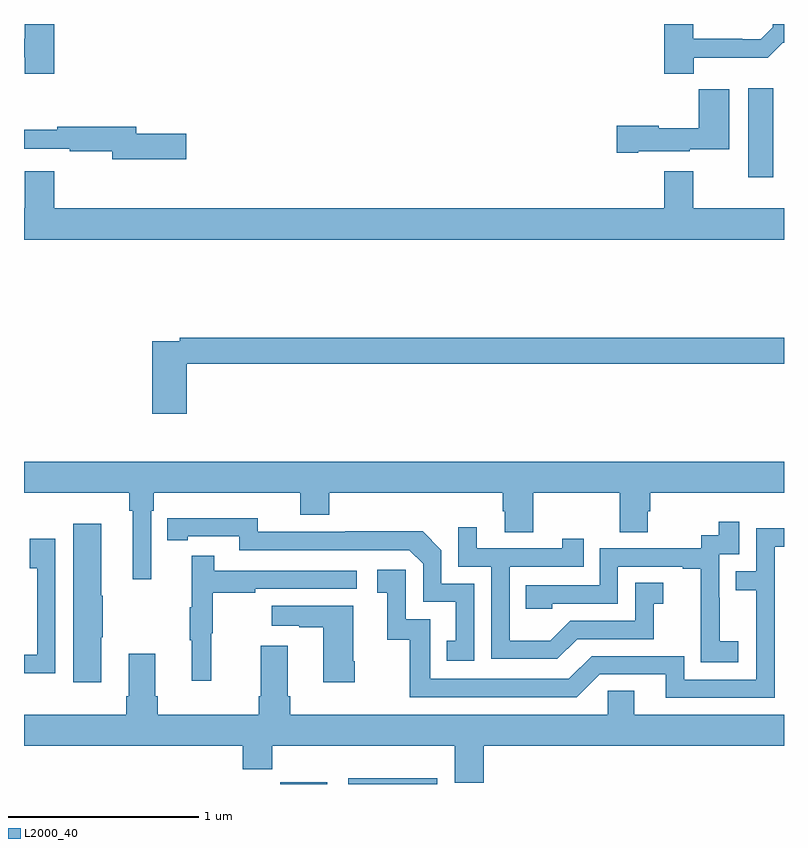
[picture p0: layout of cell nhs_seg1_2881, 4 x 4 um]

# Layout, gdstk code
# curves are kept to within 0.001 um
import gdstk
lib = gdstk.Library(unit=1e-6, precision=1e-09)
def R(c, l, rs):  # rectangles x0, y0, x1, y1
    for r in rs: c.add(gdstk.rectangle(r[:2], r[2:], *l))
def P(c, l, *ps):  # polygons
    for p in ps: c.add(gdstk.Polygon(p, *l))
L2000_40 = (2000, 40)

nhs_seg1_2881 = lib.new_cell('nhs_seg1_2881')
R(nhs_seg1_2881, L2000_40, [(268.348,550.199,268.597,550.207), (268.707,550.199,269.176,550.228), (270.812,553.392,270.943,553.861)])
P(nhs_seg1_2881, L2000_40, [(267.158,554.199),(267.005,554.199),(267.005,554.121),(267,554.121),(267,554.024),(267.003,554.024),(267.003,553.937),(267.158,553.937)],
  [(270.526,554.022),(270.915,554.022),(270.993,554.1),(271,554.1),(271,554.197),(270.942,554.197),(270.942,554.182),(270.878,554.118),(270.779,554.118),(270.779,554.121),(270.523,554.121),(270.523,554.199),(270.371,554.199),(270.371,553.937),(270.526,553.937)],
  [(270.232,553.529),(270.504,553.529),(270.504,553.541),(270.712,553.541),(270.712,553.855),(270.55,553.855),(270.55,553.651),(270.342,553.651),(270.342,553.664),(270.12,553.664),(270.12,553.522),(270.232,553.522)],
  [(267.853,553.622),(267.592,553.622),(267.592,553.658),(267.176,553.658),(267.176,553.643),(267,553.643),(267,553.542),(267.241,553.542),(267.241,553.53),(267.464,553.53),(267.464,553.487),(267.853,553.487)],
  [(271,553.228),(270.523,553.228),(270.523,553.423),(270.371,553.423),(270.371,553.228),(267.158,553.228),(267.158,553.423),(267.005,553.423),(267.005,553.228),(267,553.228),(267,553.064),(271,553.064)],
  [(267.857,552.412),(271,552.412),(271,552.548),(267.82,552.548),(267.82,552.528),(267.674,552.528),(267.674,552.147),(267.857,552.147)],
  [(267.669,551.636),(267.683,551.636),(267.683,551.732),(268.454,551.732),(268.454,551.615),(268.607,551.615),(268.607,551.732),(269.519,551.732),(269.519,551.634),(269.531,551.634),(269.531,551.524),(269.679,551.524),(269.679,551.732),(270.136,551.732),(270.136,551.524),(270.283,551.524),(270.283,551.634),(270.296,551.634),(270.296,551.732),(271,551.732),(271,551.896),(267,551.896),(267,551.732),(267.553,551.732),(267.553,551.636),(267.572,551.636),(267.572,551.277),(267.669,551.277)],
  [(269.37,551.253),(269.196,551.253),(269.196,551.43),(269.098,551.528),(268.69,551.528),(268.69,551.526),(268.23,551.526),(268.23,551.599),(267.754,551.598),(267.754,551.482),(267.862,551.482),(267.862,551.502),(268.134,551.502),(268.134,551.43),(269.028,551.43),(269.1,551.358),(269.1,551.157),(269.273,551.157),(269.273,550.953),(269.224,550.953),(269.224,550.848),(269.37,550.848)],
  [(270.76,550.951),(270.662,550.951),(270.662,551.18),(270.66,551.18),(270.66,551.409),(270.765,551.409),(270.765,551.578),(270.657,551.578),(270.657,551.508),(270.564,551.508),(270.564,551.439),(270.03,551.439),(270.03,551.244),(269.641,551.244),(269.641,551.121),(269.781,551.121),(269.781,551.148),(270.126,551.148),(270.126,551.343),(270.467,551.343),(270.467,551.331),(270.563,551.331),(270.563,551.047),(270.562,551.047),(270.562,550.841),(270.76,550.841)],
  [(267.406,550.972),(267.414,550.972),(267.414,551.189),(267.406,551.189),(267.406,551.569),(267.26,551.569),(267.26,550.734),(267.406,550.734)],
  [(269.911,550.962),(270.315,550.962),(270.315,551.147),(270.364,551.147),(270.364,551.257),(270.216,551.257),(270.216,551.058),(269.874,551.058),(269.77,550.954),(269.556,550.954),(269.556,551.343),(269.945,551.343),(269.945,551.491),(269.834,551.491),(269.834,551.439),(269.383,551.439),(269.383,551.551),(269.286,551.551),(269.286,551.343),(269.46,551.343),(269.46,550.857),(269.806,550.857)],
  [(270.951,551.448),(271,551.448),(271,551.544),(270.855,551.544),(270.855,551.319),(270.745,551.319),(270.745,551.218),(270.855,551.218),(270.855,550.749),(270.474,550.749),(270.474,550.872),(269.988,550.872),(269.868,550.752),(269.139,550.752),(269.139,551.067),(269.01,551.067),(269.01,551.326),(268.86,551.326),(268.86,551.205),(268.913,551.205),(268.913,550.959),(269.031,550.959),(269.031,550.656),(269.91,550.656),(270.03,550.776),(270.377,550.776),(270.377,550.653),(270.951,550.653)],
  [(267.165,551.491),(267.029,551.491),(267.029,551.335),(267.069,551.335),(267.069,550.878),(267,550.878),(267,550.781),(267.165,550.781)],
  [(267.986,550.992),(267.994,550.992),(267.994,551.206),(268.217,551.206),(268.217,551.226),(268.75,551.226),(268.75,551.322),(268.001,551.322),(268.001,551.401),(267.884,551.401),(267.884,551.129),(267.873,551.129),(267.873,550.955),(267.884,550.955),(267.884,550.743),(267.986,550.743)],
  [(268.74,550.846),(268.732,550.846),(268.732,551.137),(268.305,551.137),(268.305,551.033),(268.448,551.033),(268.448,551.023),(268.574,551.023),(268.574,550.734),(268.74,550.734)],
  [(269.42,550.4),(271,550.4),(271,550.564),(270.211,550.564),(270.211,550.691),(270.072,550.691),(270.072,550.564),(268.4,550.564),(268.4,550.66),(268.387,550.66),(268.387,550.927),(268.247,550.927),(268.247,550.66),(268.235,550.66),(268.235,550.564),(267.704,550.564),(267.704,550.66),(267.691,550.66),(267.691,550.885),(267.551,550.885),(267.551,550.66),(267.539,550.66),(267.539,550.564),(267,550.564),(267,550.4),(268.151,550.4),(268.151,550.276),(268.307,550.276),(268.307,550.4),(269.267,550.4),(269.267,550.206),(269.42,550.206)])

lib.write_gds('nhs_seg1_2881.gds')
